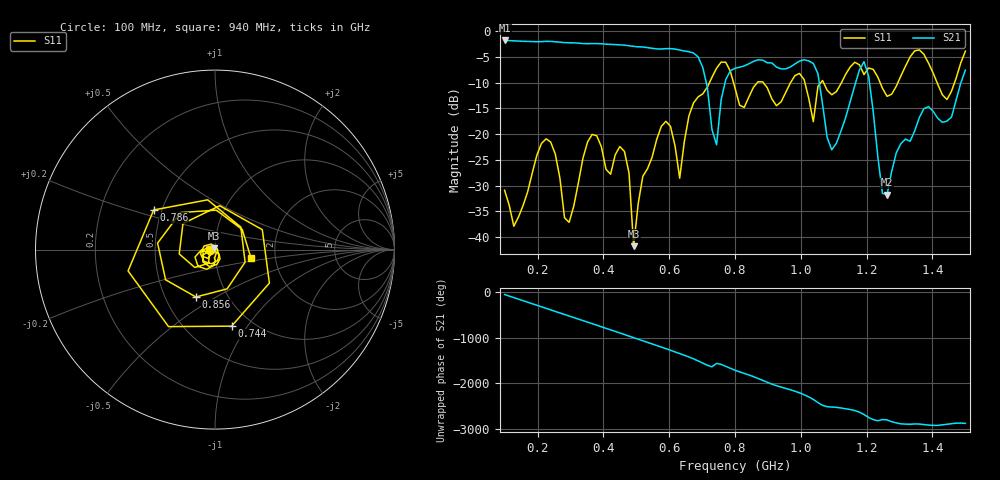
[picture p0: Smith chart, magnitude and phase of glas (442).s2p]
! NanoVNA-App
! Date: 2025-09-25 15:58:55
! Start: 100MHz Stop: 1,5GHz Points: 101
! S-Parameter data: F S11 S21 S12 S22
# Hz S RI R 50
!  Frequency  S11_Real  S11_Imag  S21_Real  S21_Imag  S12_Real  S12_Imag  S22_Real  S22_Imag
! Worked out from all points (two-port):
!   101 points, 100 MHz to 1.5 GHz, reference 50 ohm
!   highest |S21| = -1.80 dB at 100 MHz (marker M1); lowest = -31.8 dB at 1.262 GHz (marker M2)
!   |S21| within 3 dB of the highest: start of sweep to 684.4 MHz
!   lowest |S11| = -41.8 dB at 492 MHz (marker M3), VSWR 1.02, Z = 49.5 + j0.624 ohm
!   |S11| at or under -10 dB: start of sweep to 722.4 MHz; 795.5 MHz to 867.8 MHz (72.32 MHz wide, 8.7 % of centre); 885.9 MHz to 968.8 MHz (82.95 MHz wide, 8.94 % of centre) (the widest 3 of 7)
!   S12 and S22 are empty: the file has one direction only
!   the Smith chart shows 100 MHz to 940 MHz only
!   S11 on the Smith chart (normalised r, x): 100 MHz: 0.95, -0.01; 744 MHz: 0.81, -0.85; 786 MHz: 0.45, +0.24; 856 MHz: 0.71, -0.41; 940 MHz: 1.49, -0.14
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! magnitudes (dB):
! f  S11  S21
! 100 MHz  -30.9  -1.8
! 128 MHz  -37.9  -1.9
! 226 MHz  -20.9  -2.0
! 296 MHz  -37.2  -2.2
! 338 MHz  -24.7  -2.4
! 464 MHz  -23.4  -2.7
! 492 MHz  -41.8  -3.0
! 576 MHz  -18.5  -3.5
! 632 MHz  -28.6  -3.7
! 702 MHz  -12.2  -7.0
! 744 MHz  -7.2  -22.1
! 786 MHz  -7.8  -7.7
! 800 MHz  -11.0  -7.2
! 856 MHz  -10.9  -5.9
! 940 MHz  -13.8  -7.3
! 996 MHz  -8.2  -5.8
! 1.038 GHz  -17.6  -6.3
! 1.094 GHz  -12.4  -23.1
! 1.192 GHz  -8.4  -5.9
! 1.262 GHz  -12.7  -31.8
! 1.276 GHz  -12.3  -27.3
! 1.5 GHz  -3.9  -7.6
